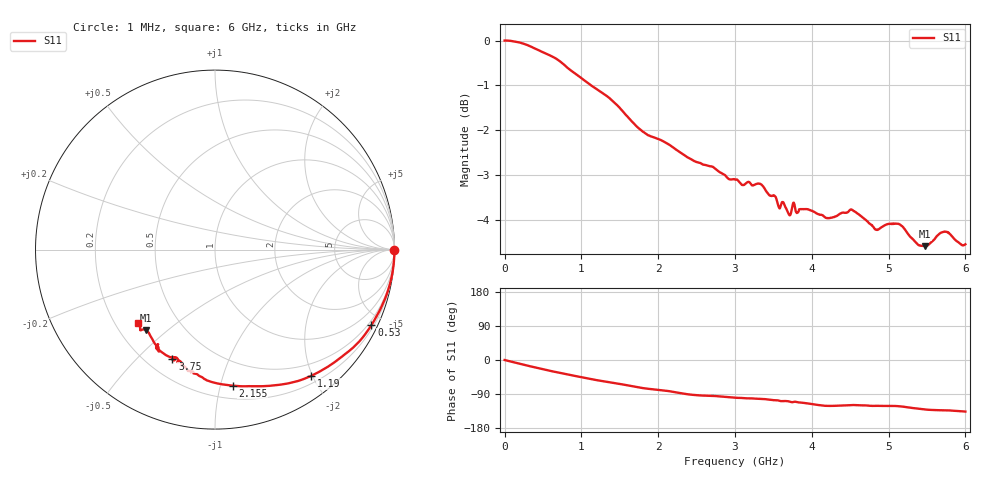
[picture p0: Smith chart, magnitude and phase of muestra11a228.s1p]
! COPPER MOUNTAIN TECHNOLOGIES, R60, 23103002, 24.3.3/3.0
! Date: 23/10/2026 12:26:50
! Data: Format [Calibration Info]
! Frequency		S11: Re/Im RO
# HZ S RI R 50
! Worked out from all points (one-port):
!   1280 points, 1 MHz to 6 GHz, reference 50 ohm
!   lowest |S11| = -4.6 dB at 5.475 GHz (marker M1), VSWR 3.88, Z = 15.4 - j21.2 ohm
!   |S11| at or under -10 dB: nowhere
!   S11 on the Smith chart (normalised r, x): 1 MHz: open; 530 MHz: 0.33, -4.35; 1.19 GHz: 0.31, -1.98; 2.155 GHz: 0.30, -1.09; 3.75 GHz: 0.30, -0.64; 6 GHz: 0.29, -0.37
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1000000  0.9999 -0.000723
2.4e8  0.9708 -0.2058
5.3e8  0.8715 -0.4208
7.55e8  0.7681 -0.5473
1.01e9  0.6312 -0.6511
1.19e9  0.5342 -0.7044
1.505e9  0.3779 -0.7505
1.78e9  0.2251 -0.7618
2.155e9  0.0981 -0.7581
2.255e9  0.0507 -0.7521
2.47e9  -0.0297 -0.7335
2.75e9  -0.0645 -0.7163
3.005e9  -0.1187 -0.6896
3.34e9  -0.1514 -0.6748
3.58e9  -0.1971 -0.6196
3.68e9  -0.2057 -0.6124
3.75e9  -0.2376 -0.6111
3.755e9  -0.2368 -0.6139
3.805e9  -0.2306 -0.5997
4.165e9  -0.3261 -0.5465
4.285e9  -0.3274 -0.545
4.505e9  -0.3143 -0.5671
4.83e9  -0.3171 -0.528
5.115e9  -0.3286 -0.5317
5.255e9  -0.3497 -0.4981
5.475e9  -0.3839 -0.4483
5.755e9  -0.4165 -0.4488
6e9  -0.4269 -0.4117
